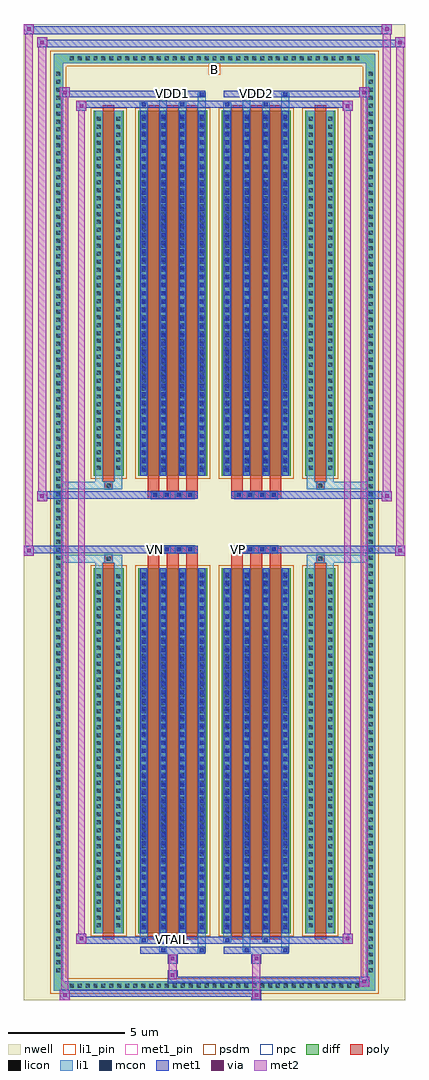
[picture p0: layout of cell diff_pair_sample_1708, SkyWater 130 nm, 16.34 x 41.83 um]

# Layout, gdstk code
import gdstk
lib = gdstk.Library(unit=1e-6, precision=5e-09)
def R(c, l, rs):  # rectangles x0, y0, x1, y1
    for r in rs: c.add(gdstk.rectangle(r[:2], r[2:], *l))
def A(c, l, x, y, w, h, nx, ny, dx, dy):  # array of equal rectangles
    R(c, l, [(x+i*dx, y+j*dy, x+i*dx+w, y+j*dy+h) for i in range(nx) for j in range(ny)])
def P(c, l, *ps):  # polygons
    for p in ps: c.add(gdstk.Polygon(p, *l))
nwell = (64, 20)
diff = (65, 20)
poly = (66, 20)
licon = (66, 44)
li1_pin = (67, 16)
li1 = (67, 20)
mcon = (67, 44)
met1_pin = (68, 16)
met1 = (68, 20)
via = (68, 44)
met2 = (69, 20)
psdm = (94, 20)
npc = (95, 20)

diff_pair_sample_1708 = lib.new_cell('diff_pair_sample_1708')
R(diff_pair_sample_1708, nwell, [(-8.17,-20.48,8.17,21.35), (-5.49,-18.67,-0.01,-0.805), (0.01,-18.67,5.49,-0.805), (-5.49,0.805,-0.01,18.67), (0.01,0.805,5.49,18.67)])
A(diff_pair_sample_1708, diff, -6.325, -20.08, 0.41, 0.41, 37, 2, 0.34, 39.75)
A(diff_pair_sample_1708, diff, -6.9, -19.415, 0.41, 0.41, 1, 114, 0, 0.34)
A(diff_pair_sample_1708, diff, 6.49, -19.415, 0.41, 0.41, 1, 114, 0, 0.34)
R(diff_pair_sample_1708, diff, [(-6.325,-20.08,6.325,-19.67), (-6.9,-19.415,-6.49,19.415), (6.49,-19.415,6.9,19.415), (-5.18,-17.625,-3.9,-1.985), (-3.26,-17.625,-0.32,-1.985), (0.32,-17.625,3.26,-1.985), (3.9,-17.625,5.18,-1.985), (-5.18,1.985,-3.9,17.625), (-3.26,1.985,-0.32,17.625), (0.32,1.985,3.26,17.625), (3.9,1.985,5.18,17.625), (-6.325,19.67,6.325,20.08)])
P(diff_pair_sample_1708, diff, [(6.9,20.08),(-6.9,20.08),(-6.9,-19.67),(-6.49,-19.67),(-6.49,19.67),(6.49,19.67),(6.49,-19.67),(-6.49,-19.67),(-6.9,-19.67),(-6.9,-20.08),(6.9,-20.08)])
A(diff_pair_sample_1708, poly, -2.87, -17.875, 0.5, 16.14, 3, 2, 0.83, 19.61)
A(diff_pair_sample_1708, poly, 0.71, -17.875, 0.5, 16.14, 3, 2, 0.83, 19.61)
A(diff_pair_sample_1708, poly, -2.87, -1.735, 0.5, 0.4, 3, 2, 0.83, 3.07)
A(diff_pair_sample_1708, poly, 0.71, -1.735, 0.5, 0.4, 3, 2, 0.83, 3.07)
A(diff_pair_sample_1708, poly, -2.705, -1.335, 0.33, 0.33, 4, 2, 0.5, 2.34)
A(diff_pair_sample_1708, poly, 0.875, -1.335, 0.33, 0.33, 4, 2, 0.5, 2.34)
R(diff_pair_sample_1708, poly, [(-4.79,-17.875,-4.29,-1.735), (4.29,-17.875,4.79,-1.735), (-4.705,-1.735,-4.375,-1.405), (-4.705,-1.735,-4.375,-1.405), (4.375,-1.735,4.705,-1.405), (4.375,-1.735,4.705,-1.405), (-2.87,-1.335,-0.71,-1.005), (0.71,-1.335,2.87,-1.005), (-2.87,1.005,-0.71,1.335), (0.71,1.005,2.87,1.335), (-4.705,1.405,-4.375,1.735), (-4.705,1.405,-4.375,1.735), (4.375,1.405,4.705,1.735), (4.375,1.405,4.705,1.735), (-4.79,1.735,-4.29,17.875), (4.29,1.735,4.79,17.875)])
A(diff_pair_sample_1708, licon, -6.205, -19.96, 0.17, 0.17, 37, 2, 0.34, 39.75)
A(diff_pair_sample_1708, licon, -6.78, -19.295, 0.17, 0.17, 1, 114, 0, 0.34)
A(diff_pair_sample_1708, licon, 6.61, -19.295, 0.17, 0.17, 1, 114, 0, 0.34)
A(diff_pair_sample_1708, licon, -5.04, -17.37, 0.17, 0.17, 1, 45, 0, 0.34)
A(diff_pair_sample_1708, licon, -4.21, -17.37, 0.17, 0.17, 1, 45, 0, 0.34)
A(diff_pair_sample_1708, licon, -3.12, -17.37, 0.17, 0.17, 4, 45, 0.83, 0.34)
A(diff_pair_sample_1708, licon, 0.46, -17.37, 0.17, 0.17, 4, 45, 0.83, 0.34)
A(diff_pair_sample_1708, licon, 4.04, -17.37, 0.17, 0.17, 1, 45, 0, 0.34)
A(diff_pair_sample_1708, licon, 4.87, -17.37, 0.17, 0.17, 1, 45, 0, 0.34)
A(diff_pair_sample_1708, licon, -2.625, -1.255, 0.17, 0.17, 4, 2, 0.5, 2.34)
A(diff_pair_sample_1708, licon, 0.955, -1.255, 0.17, 0.17, 4, 2, 0.5, 2.34)
A(diff_pair_sample_1708, licon, -5.04, 2.24, 0.17, 0.17, 1, 45, 0, 0.34)
A(diff_pair_sample_1708, licon, -4.21, 2.24, 0.17, 0.17, 1, 45, 0, 0.34)
A(diff_pair_sample_1708, licon, -3.12, 2.24, 0.17, 0.17, 4, 45, 0.83, 0.34)
A(diff_pair_sample_1708, licon, 0.46, 2.24, 0.17, 0.17, 4, 45, 0.83, 0.34)
A(diff_pair_sample_1708, licon, 4.04, 2.24, 0.17, 0.17, 1, 45, 0, 0.34)
A(diff_pair_sample_1708, licon, 4.87, 2.24, 0.17, 0.17, 1, 45, 0, 0.34)
R(diff_pair_sample_1708, licon, [(-4.625,-1.655,-4.455,-1.485), (4.455,-1.655,4.625,-1.485), (-4.625,1.485,-4.455,1.655), (4.455,1.485,4.625,1.655)])
R(diff_pair_sample_1708, li1_pin, [(-0.25,19.17,0.25,19.67)])
A(diff_pair_sample_1708, li1, -6.285, -20.04, 0.33, 0.33, 37, 2, 0.34, 39.75)
A(diff_pair_sample_1708, li1, -6.86, -19.375, 0.33, 0.33, 1, 114, 0, 0.34)
A(diff_pair_sample_1708, li1, 6.53, -19.375, 0.33, 0.33, 1, 114, 0, 0.34)
A(diff_pair_sample_1708, li1, -3.2, -17.625, 0.33, 15.64, 4, 2, 0.83, 19.61)
A(diff_pair_sample_1708, li1, 0.38, -17.625, 0.33, 15.64, 4, 2, 0.83, 19.61)
A(diff_pair_sample_1708, li1, -5.12, -17.45, 0.33, 0.33, 1, 45, 0, 0.34)
A(diff_pair_sample_1708, li1, -4.29, -17.45, 0.33, 0.33, 1, 45, 0, 0.34)
A(diff_pair_sample_1708, li1, -3.2, -17.45, 0.33, 0.33, 4, 45, 0.83, 0.34)
A(diff_pair_sample_1708, li1, -3.12, -17.45, 0.17, 0.17, 4, 43, 0.83, 0.36)
A(diff_pair_sample_1708, li1, -3.12, -17.45, 0.17, 15.29, 4, 2, 0.83, 19.61)
A(diff_pair_sample_1708, li1, 0.38, -17.45, 0.33, 0.33, 4, 45, 0.83, 0.34)
A(diff_pair_sample_1708, li1, 0.46, -17.45, 0.17, 0.17, 4, 43, 0.83, 0.36)
A(diff_pair_sample_1708, li1, 0.46, -17.45, 0.17, 15.29, 4, 2, 0.83, 19.61)
A(diff_pair_sample_1708, li1, 3.96, -17.45, 0.33, 0.33, 1, 45, 0, 0.34)
A(diff_pair_sample_1708, li1, 4.79, -17.45, 0.33, 0.33, 1, 45, 0, 0.34)
A(diff_pair_sample_1708, li1, -2.705, -1.335, 0.33, 0.33, 4, 2, 0.5, 2.34)
A(diff_pair_sample_1708, li1, 0.875, -1.335, 0.33, 0.33, 4, 2, 0.5, 2.34)
A(diff_pair_sample_1708, li1, -5.12, 2.16, 0.33, 0.33, 1, 45, 0, 0.34)
A(diff_pair_sample_1708, li1, -4.29, 2.16, 0.33, 0.33, 1, 45, 0, 0.34)
A(diff_pair_sample_1708, li1, -3.2, 2.16, 0.33, 0.33, 4, 45, 0.83, 0.34)
A(diff_pair_sample_1708, li1, -3.12, 2.16, 0.17, 0.17, 4, 43, 0.83, 0.36)
A(diff_pair_sample_1708, li1, 0.38, 2.16, 0.33, 0.33, 4, 45, 0.83, 0.34)
A(diff_pair_sample_1708, li1, 0.46, 2.16, 0.17, 0.17, 4, 43, 0.83, 0.36)
A(diff_pair_sample_1708, li1, 3.96, 2.16, 0.33, 0.33, 1, 45, 0, 0.34)
A(diff_pair_sample_1708, li1, 4.79, 2.16, 0.33, 0.33, 1, 45, 0, 0.34)
R(diff_pair_sample_1708, li1, [(-6.9,-20.08,-6.49,-19.67), (-6.9,-20.08,-6.49,-19.67), (-6.49,-20.08,6.49,-19.67), (6.49,-20.08,6.9,-19.67), (6.49,-20.08,6.9,-19.67), (-6.9,-19.67,-6.49,19.67), (6.49,-19.67,6.9,19.67), (-2.37,-18.43,-2.04,-17.625), (-2.29,-18.43,-2.12,-18.26), (-0.71,-18.43,-0.38,-17.625), (-0.63,-18.43,-0.46,-18.26), (1.21,-18.43,1.54,-17.625), (1.29,-18.43,1.46,-18.26), (2.87,-18.43,3.2,-17.625), (2.95,-18.43,3.12,-18.26), (-3.2,-18,-2.87,-17.625), (-3.12,-18,-2.95,-17.83), (-1.54,-18,-1.21,-17.625), (-1.46,-18,-1.29,-17.83), (0.38,-18,0.71,-17.625), (0.46,-18,0.63,-17.83), (2.04,-18,2.37,-17.625), (2.12,-18,2.29,-17.83), (-5.12,-17.625,-4.79,-1.985), (-4.29,-17.625,-3.96,-1.985), (3.96,-17.625,4.29,-1.985), (4.79,-17.625,5.12,-1.985), (-5.12,-1.985,-4.79,-1.405), (-4.29,-1.985,-3.96,-1.405), (3.96,-1.985,4.29,-1.405), (4.79,-1.985,5.12,-1.405), (-6.9,-1.735,-4.705,-1.405), (-5.12,-1.735,-4.705,-1.405), (-4.705,-1.735,-4.375,-1.405), (-4.375,-1.735,-3.96,-1.405), (3.96,-1.735,4.375,-1.405), (4.375,-1.735,4.705,-1.405), (4.375,-1.735,6.9,-1.405), (4.705,-1.735,5.12,-1.405), (-6.9,1.405,-4.705,1.735), (-5.12,1.405,-4.705,1.735), (-5.12,1.405,-4.79,1.985), (-4.705,1.405,-4.375,1.735), (-4.375,1.405,-3.96,1.735), (-4.29,1.405,-3.96,1.985), (3.96,1.405,4.375,1.735), (3.96,1.405,4.29,1.985), (4.375,1.405,4.705,1.735), (4.375,1.405,6.9,1.735), (4.705,1.405,5.12,1.735), (4.79,1.405,5.12,1.985), (-5.12,1.985,-4.79,17.625), (-4.29,1.985,-3.96,17.625), (3.96,1.985,4.29,17.625), (4.79,1.985,5.12,17.625), (-3.2,17.625,-2.87,18), (-2.37,17.625,-2.04,18.43), (-1.54,17.625,-1.21,18), (-0.71,17.625,-0.38,18.43), (0.38,17.625,0.71,18), (1.21,17.625,1.54,18.43), (2.04,17.625,2.37,18), (2.87,17.625,3.2,18.43), (-3.12,17.83,-2.95,18), (-1.46,17.83,-1.29,18), (0.46,17.83,0.63,18), (2.12,17.83,2.29,18), (-2.29,18.26,-2.12,18.43), (-0.63,18.26,-0.46,18.43), (1.29,18.26,1.46,18.43), (2.95,18.26,3.12,18.43), (-6.9,19.67,-6.49,20.08), (-6.9,19.67,-6.49,20.08), (-6.49,19.67,6.49,20.08), (6.49,19.67,6.9,20.08), (6.49,19.67,6.9,20.08)])
A(diff_pair_sample_1708, mcon, -3.12, -17.45, 0.17, 0.17, 4, 43, 0.83, 0.36)
A(diff_pair_sample_1708, mcon, 0.46, -17.45, 0.17, 0.17, 4, 43, 0.83, 0.36)
A(diff_pair_sample_1708, mcon, -2.625, -1.255, 0.17, 0.17, 4, 2, 0.5, 2.34)
A(diff_pair_sample_1708, mcon, 0.955, -1.255, 0.17, 0.17, 4, 2, 0.5, 2.34)
A(diff_pair_sample_1708, mcon, -3.12, 2.16, 0.17, 0.17, 4, 43, 0.83, 0.36)
A(diff_pair_sample_1708, mcon, 0.46, 2.16, 0.17, 0.17, 4, 43, 0.83, 0.36)
R(diff_pair_sample_1708, mcon, [(-2.29,-18.43,-2.12,-18.26), (-0.63,-18.43,-0.46,-18.26), (1.29,-18.43,1.46,-18.26), (2.95,-18.43,3.12,-18.26), (-3.12,-18,-2.95,-17.83), (-1.46,-18,-1.29,-17.83), (0.46,-18,0.63,-17.83), (2.12,-18,2.29,-17.83), (-3.12,17.83,-2.95,18), (-1.46,17.83,-1.29,18), (0.46,17.83,0.63,18), (2.12,17.83,2.29,18), (-2.29,18.26,-2.12,18.43), (-0.63,18.26,-0.46,18.43), (1.29,18.26,1.46,18.43), (2.95,18.26,3.12,18.43)])
R(diff_pair_sample_1708, met1_pin, [(-1.925,-18.04,-1.655,-17.77), (-2.675,-1.295,-2.405,-1.025), (0.905,-1.295,1.175,-1.025), (-1.925,18.22,-1.655,18.49), (1.655,18.22,1.925,18.49)])
A(diff_pair_sample_1708, met1, -3.18, -17.625, 0.29, 15.64, 4, 2, 0.83, 19.61)
A(diff_pair_sample_1708, met1, 0.4, -17.625, 0.29, 15.64, 4, 2, 0.83, 19.61)
A(diff_pair_sample_1708, met1, -3.18, -17.51, 0.29, 0.29, 4, 43, 0.83, 0.36)
A(diff_pair_sample_1708, met1, 0.4, -17.51, 0.29, 0.29, 4, 43, 0.83, 0.36)
A(diff_pair_sample_1708, met1, -2.685, -1.315, 0.29, 0.29, 4, 2, 0.5, 2.34)
A(diff_pair_sample_1708, met1, 0.895, -1.315, 0.29, 0.29, 4, 2, 0.5, 2.34)
A(diff_pair_sample_1708, met1, -3.18, 2.1, 0.29, 0.29, 4, 43, 0.83, 0.36)
A(diff_pair_sample_1708, met1, 0.4, 2.1, 0.29, 0.29, 4, 43, 0.83, 0.36)
R(diff_pair_sample_1708, met1, [(-6.63,-20.48,-6.2,-20.05), (1.575,-20.48,2.005,-20.05), (-6.63,-20.34,2.005,-20.05), (6.2,-19.91,6.63,-19.48), (-2.005,-19.77,6.63,-19.48), (-2.005,-19.63,-1.575,-19.2), (-2.005,-18.92,-1.575,-18.49), (1.575,-18.92,2.005,-18.49), (-3.18,-18.49,-0.4,-18.2), (-2.35,-18.49,-2.06,-18.2), (-0.69,-18.49,-0.4,-18.2), (0.4,-18.49,3.18,-18.2), (1.23,-18.49,1.52,-18.2), (2.89,-18.49,3.18,-18.2), (-5.92,-18.06,-5.49,-17.63), (-5.92,-18.06,-3.18,-17.77), (-3.18,-18.06,-2.89,-17.77), (-3.18,-18.06,-0.4,-17.77), (-1.52,-18.06,-1.23,-17.77), (-0.4,-18.06,0.4,-17.77), (0.4,-18.06,0.69,-17.77), (0.4,-18.06,3.18,-17.77), (2.06,-18.06,2.35,-17.77), (3.18,-18.06,5.92,-17.77), (5.49,-18.06,5.92,-17.63), (-8.17,-1.435,-7.74,-1.005), (7.74,-1.435,8.17,-1.005), (-8.17,-1.335,-0.71,-1.005), (-2.87,-1.335,-0.71,-1.005), (0.71,-1.335,2.87,-1.005), (0.71,-1.335,8.17,-1.005), (-7.6,0.905,-7.17,1.335), (7.17,0.905,7.6,1.335), (-7.6,1.005,-2.87,1.335), (-2.87,1.005,-0.71,1.335), (0.71,1.005,2.87,1.335), (2.87,1.005,7.6,1.335), (-5.92,17.63,-5.49,18.06), (5.49,17.63,5.92,18.06), (-5.92,17.77,-3.18,18.06), (-3.18,17.77,-2.89,18.06), (-3.18,17.77,-0.4,18.06), (-1.52,17.77,-1.23,18.06), (-0.4,17.77,0.4,18.06), (0.4,17.77,0.69,18.06), (0.4,17.77,3.18,18.06), (2.06,17.77,2.35,18.06), (3.18,17.77,5.92,18.06), (-6.63,18.2,-6.2,18.63), (-6.63,18.2,-3.18,18.49), (-3.18,18.2,-0.4,18.49), (-2.35,18.2,-2.06,18.49), (-0.69,18.2,-0.4,18.49), (0.4,18.2,3.18,18.49), (1.23,18.2,1.52,18.49), (2.89,18.2,3.18,18.49), (3.18,18.2,6.63,18.49), (6.2,18.2,6.63,18.63), (-7.6,20.35,-7.17,20.78), (-7.6,20.35,-5.49,20.68), (-5.49,20.35,5.49,20.68), (5.49,20.35,8.17,20.68), (7.74,20.35,8.17,20.78), (-8.17,20.92,-7.74,21.35), (-8.17,20.92,-5.49,21.25), (-5.49,20.92,5.49,21.25), (5.49,20.92,7.6,21.25), (7.17,20.92,7.6,21.35)])
R(diff_pair_sample_1708, via, [(-6.49,-20.34,-6.34,-20.19), (1.715,-20.34,1.865,-20.19), (6.34,-19.77,6.49,-19.62), (-1.865,-19.49,-1.715,-19.34), (-1.865,-18.78,-1.715,-18.63), (1.715,-18.78,1.865,-18.63), (-5.78,-17.92,-5.63,-17.77), (5.63,-17.92,5.78,-17.77), (-8.03,-1.295,-7.88,-1.145), (7.88,-1.295,8.03,-1.145), (-7.46,1.045,-7.31,1.195), (7.31,1.045,7.46,1.195), (-5.78,17.77,-5.63,17.92), (5.63,17.77,5.78,17.92), (-6.49,18.34,-6.34,18.49), (6.34,18.34,6.49,18.49), (-7.46,20.49,-7.31,20.64), (7.88,20.49,8.03,20.64), (-8.03,21.06,-7.88,21.21), (7.31,21.06,7.46,21.21)])
R(diff_pair_sample_1708, met2, [(-6.63,-20.48,-6.2,-20.05), (-6.56,-20.48,-6.27,18.63), (-6.27,-20.48,-6.2,-20.05), (-6.58,-20.43,-6.25,-20.1), (1.625,-20.43,1.955,-20.1), (1.625,-20.1,1.955,-18.87), (6.2,-19.91,6.63,-19.48), (6.27,-19.91,6.56,18.63), (6.56,-19.91,6.63,-19.48), (6.25,-19.86,6.58,-19.53), (-1.955,-19.58,-1.625,-19.25), (-1.955,-19.25,-1.625,-18.87), (-1.955,-18.87,-1.625,-18.54), (1.625,-18.87,1.955,-18.54), (-5.92,-18.06,-5.49,-17.63), (-5.85,-18.06,-5.56,18.06), (-5.56,-18.06,-5.49,-17.63), (5.49,-18.06,5.92,-17.63), (5.56,-18.06,5.85,18.06), (5.85,-18.06,5.92,-17.63), (-5.87,-18.01,-5.54,-17.68), (5.54,-18.01,5.87,-17.68), (-8.17,-1.435,-7.74,-1.005), (-8.12,-1.435,-7.79,21.35), (-7.79,-1.435,-7.74,-1.005), (7.74,-1.435,8.17,-1.005), (7.79,-1.435,8.12,20.78), (8.12,-1.435,8.17,-1.005), (-8.12,-1.385,-7.79,-1.055), (7.79,-1.385,8.12,-1.055), (-7.6,0.905,-7.17,1.335), (-7.55,0.905,-7.22,20.78), (-7.22,0.905,-7.17,1.335), (7.17,0.905,7.6,1.335), (7.22,0.905,7.55,21.35), (7.55,0.905,7.6,1.335), (-7.55,0.955,-7.22,1.285), (7.22,0.955,7.55,1.285), (-5.92,17.63,-5.49,18.06), (-5.56,17.63,-5.49,18.06), (5.49,17.63,5.92,18.06), (5.85,17.63,5.92,18.06), (-5.87,17.68,-5.54,18.01), (5.54,17.68,5.87,18.01), (-6.63,18.2,-6.2,18.63), (-6.27,18.2,-6.2,18.63), (6.2,18.2,6.63,18.63), (6.56,18.2,6.63,18.63), (-6.58,18.25,-6.25,18.58), (6.25,18.25,6.58,18.58), (-7.6,20.35,-7.17,20.78), (-7.22,20.35,-7.17,20.78), (7.74,20.35,8.17,20.78), (8.12,20.35,8.17,20.78), (-7.55,20.4,-7.22,20.73), (7.79,20.4,8.12,20.73), (-8.17,20.92,-7.74,21.35), (-7.79,20.92,-7.74,21.35), (7.17,20.92,7.6,21.35), (7.55,20.92,7.6,21.35), (-8.12,20.97,-7.79,21.3), (7.22,20.97,7.55,21.3)])
R(diff_pair_sample_1708, psdm, [(-5.31,-17.755,-3.77,-1.855), (-3.39,-17.755,-0.19,-1.855), (0.19,-17.755,3.39,-1.855), (3.77,-17.755,5.31,-1.855), (-5.31,1.855,-3.77,17.755), (-3.39,1.855,-0.19,17.755), (0.19,1.855,3.39,17.755), (3.77,1.855,5.31,17.755)])
P(diff_pair_sample_1708, psdm, [(7.03,20.21),(-7.03,20.21),(-7.03,-19.54),(-6.36,-19.54),(-6.36,19.54),(6.36,19.54),(6.36,-19.54),(-6.36,-19.54),(-7.03,-19.54),(-7.03,-20.21),(7.03,-20.21)])
A(diff_pair_sample_1708, npc, -2.725, -1.355, 0.37, 0.37, 4, 2, 0.5, 2.34)
A(diff_pair_sample_1708, npc, 0.855, -1.355, 0.37, 0.37, 4, 2, 0.5, 2.34)
R(diff_pair_sample_1708, npc, [(-4.725,-1.755,-4.355,-1.385), (4.355,-1.755,4.725,-1.385), (-2.725,-1.355,-1.855,-0.985), (-2.725,-1.355,-1.855,-0.985), (-2.225,-1.355,-1.355,-0.985), (-2.225,-1.355,-1.355,-0.985), (-1.725,-1.355,-0.855,-0.985), (-1.725,-1.355,-0.855,-0.985), (0.855,-1.355,1.725,-0.985), (0.855,-1.355,1.725,-0.985), (1.355,-1.355,2.225,-0.985), (1.355,-1.355,2.225,-0.985), (1.855,-1.355,2.725,-0.985), (1.855,-1.355,2.725,-0.985), (-2.725,0.985,-1.855,1.355), (-2.725,0.985,-1.855,1.355), (-2.225,0.985,-1.355,1.355), (-2.225,0.985,-1.355,1.355), (-1.725,0.985,-0.855,1.355), (-1.725,0.985,-0.855,1.355), (0.855,0.985,1.725,1.355), (0.855,0.985,1.725,1.355), (1.355,0.985,2.225,1.355), (1.355,0.985,2.225,1.355), (1.855,0.985,2.725,1.355), (1.855,0.985,2.725,1.355), (-4.725,1.385,-4.355,1.755), (4.355,1.385,4.725,1.755)])
diff_pair_sample_1708.add(gdstk.Label('VTAIL', (-1.79,-17.905), layer=68, texttype=5))
diff_pair_sample_1708.add(gdstk.Label('VN', (-2.54,-1.16), layer=68, texttype=5))
diff_pair_sample_1708.add(gdstk.Label('VP', (1.04,-1.16), layer=68, texttype=5))
diff_pair_sample_1708.add(gdstk.Label('B', (0,19.42), layer=67, texttype=5))
diff_pair_sample_1708.add(gdstk.Label('VDD2', (1.79,18.355), layer=68, texttype=5))
diff_pair_sample_1708.add(gdstk.Label('VDD1', (-1.79,18.355), layer=68, texttype=5))

lib.write_gds('diff_pair_sample_1708.gds')
